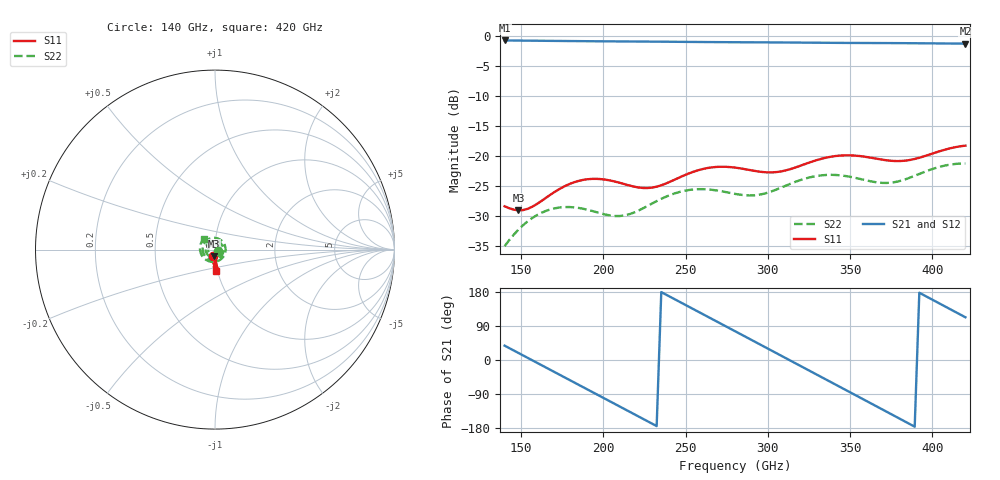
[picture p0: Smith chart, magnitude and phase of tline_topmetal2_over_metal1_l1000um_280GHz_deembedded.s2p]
! Created with skrf 2.0.1 (http://scikit-rf.org).
# GHz S DB R 50.0
!freq dBS11 angS11 dBS21 angS21 dBS12 angS12 dBS22 angS22
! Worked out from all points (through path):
!   101 points, 140 GHz to 420 GHz, reference 50 ohm
!   highest |S21| = -0.81 dB at 140 GHz (marker M1); lowest = -1.3 dB at 420 GHz (marker M2)
!   group delay of S21, straight-line fit = 6.4 ps
!   lowest |S11| = -29.1 dB at 148.4 GHz (marker M3), VSWR 1.07, Z = 49.3 - j3.43 ohm
!   |S11| at or under -10 dB: start of sweep to end of sweep
!   |S22| runs from -35.0 to -21.3 dB; largest |S21 - S12| = 1e-13
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140  -28.39 -107.9  -0.81 37.9  -0.81 37.9  -35.02 -23.6
148.4  -29.06 -99.4  -0.83 18.6  -0.83 18.6  -32.27 -63.1
168  -26.44 -82.8  -0.88 -26.4  -0.88 -26.4  -28.90 -139.8
187.6  -24.01 -91.6  -0.93 -71.4  -0.93 -71.4  -28.79 142.4
198.8  -23.88 -98.5  -0.95 -97.1  -0.95 -97.1  -29.59 90.8
210  -24.49 -102.0  -0.97 -122.9  -0.97 -122.9  -30.01 31.6
224  -25.34 -96.7  -1.00 -155.1  -1.00 -155.1  -28.74 -43.6
235.2  -24.90 -88.2  -1.02 179.2  -1.02 179.2  -27.15 -96.4
246.4  -23.58 -84.5  -1.04 153.4  -1.04 153.4  -26.00 -144.2
260.4  -22.19 -87.9  -1.07 121.2  -1.07 121.2  -25.54 158.0
280  -21.96 -95.8  -1.11 76.1  -1.11 76.1  -26.33 70.1
291.2  -22.47 -96.1  -1.12 50.3  -1.12 50.3  -26.58 12.7
305.2  -22.70 -89.9  -1.14 18.0  -1.14 18.0  -25.60 -59.6
316.4  -21.97 -84.7  -1.16 -7.9  -1.16 -7.9  -24.36 -112.0
327.6  -20.89 -84.0  -1.18 -33.7  -1.18 -33.7  -23.45 -160.0
341.6  -20.02 -88.4  -1.21 -66.0  -1.21 -66.0  -23.19 141.8
352.8  -19.96 -92.6  -1.23 -91.8  -1.23 -91.8  -23.64 93.0
364  -20.38 -94.3  -1.24 -117.7  -1.24 -117.7  -24.32 39.4
375.2  -20.83 -91.6  -1.25 -143.6  -1.25 -143.6  -24.45 -19.2
386.4  -20.68 -85.9  -1.27 -169.5  -1.27 -169.5  -23.62 -77.1
397.6  -19.84 -82.2  -1.29 164.5  -1.29 164.5  -22.42 -129.7
420  -18.31 -86.6  -1.34 112.8  -1.34 112.8  -21.28 135.6
